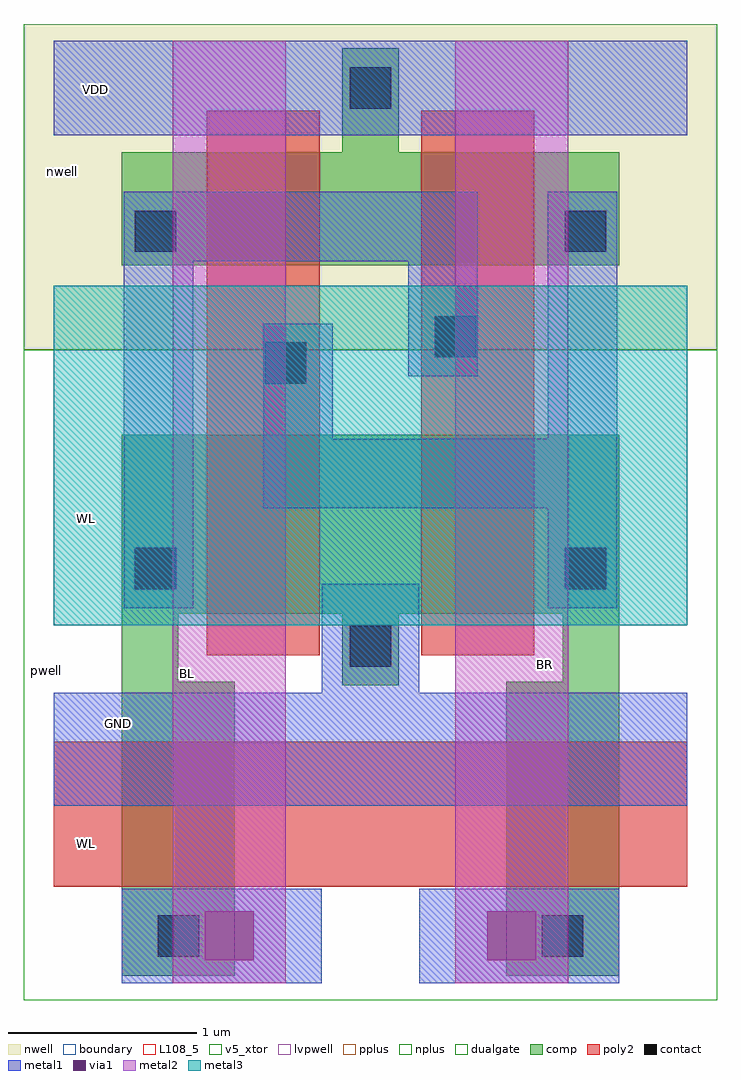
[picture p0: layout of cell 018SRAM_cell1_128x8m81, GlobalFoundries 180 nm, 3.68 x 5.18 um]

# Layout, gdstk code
import gdstk
lib = gdstk.Library(unit=1e-6, precision=1e-09)
def R(c, l, rs):  # rectangles x0, y0, x1, y1
    for r in rs: c.add(gdstk.rectangle(r[:2], r[2:], *l))
def P(c, l, *ps):  # polygons
    for p in ps: c.add(gdstk.Polygon(p, *l))
boundary = (0, 0)
nwell = (21, 0)
comp = (22, 0)
poly2 = (30, 0)
pplus = (31, 0)
nplus = (32, 0)
contact = (33, 0)
metal1 = (34, 0)
via1 = (35, 0)
metal2 = (36, 0)
metal3 = (42, 0)
dualgate = (55, 0)
L108_5 = (108, 5)
v5_xtor = (112, 1)
lvpwell = (204, 0)

c_018sram_cell1_128x8m81 = lib.new_cell('018SRAM_cell1_128x8m81')
R(c_018sram_cell1_128x8m81, boundary, [(-0.34,-0.34,3.34,4.84), (0,0,3,4.5)])
R(c_018sram_cell1_128x8m81, nwell, [(-0.34,3.11,3.34,4.84)])
P(c_018sram_cell1_128x8m81, comp, [(0.18,-0.21),(0.18,2.66),(2.82,2.66),(2.82,-0.21),(2.22,-0.21),(2.22,1.35),(2.52,1.35),(2.52,1.71),(1.65,1.71),(1.65,1.33),(1.35,1.33),(1.35,1.71),(0.48,1.71),(0.48,1.35),(0.78,1.35),(0.78,-0.21)],
  [(0.18,3.56),(0.18,4.16),(1.35,4.16),(1.35,4.71),(1.65,4.71),(1.65,4.16),(2.82,4.16),(2.82,3.56)])
R(c_018sram_cell1_128x8m81, poly2, [(-0.18,0.26,3.18,1.03), (0.63,1.49,1.23,4.38), (1.77,1.49,2.37,4.38)])
R(c_018sram_cell1_128x8m81, pplus, [(-0.34,3.11,3.34,4.84)])
R(c_018sram_cell1_128x8m81, nplus, [(-0.34,-0.34,3.34,3.11)])
R(c_018sram_cell1_128x8m81, contact, [(0.37,-0.11,0.59,0.11), (2.41,-0.11,2.63,0.11), (1.39,1.43,1.61,1.65), (0.25,1.84,0.47,2.06), (2.53,1.84,2.75,2.06), (0.94,2.93,1.16,3.15), (1.84,3.07,2.06,3.29), (0.25,3.63,0.47,3.85), (2.53,3.63,2.75,3.85), (1.39,4.39,1.61,4.61)])
R(c_018sram_cell1_128x8m81, metal1, [(0.18,-0.25,1.24,0.25), (1.76,-0.25,2.82,0.25), (-0.18,4.25,3.18,4.75)])
P(c_018sram_cell1_128x8m81, metal1, [(0.19,1.74),(0.19,3.95),(2.07,3.95),(2.07,2.97),(1.7,2.97),(1.7,3.58),(0.56,3.58),(0.56,1.74)],
  [(2.44,1.74),(2.44,2.27),(0.93,2.27),(0.93,3.25),(1.3,3.25),(1.3,2.64),(2.44,2.64),(2.44,3.95),(2.81,3.95),(2.81,1.74)],
  [(-0.18,0.69),(-0.18,1.29),(1.24,1.29),(1.24,1.87),(1.76,1.87),(1.76,1.29),(3.18,1.29),(3.18,0.69)])
R(c_018sram_cell1_128x8m81, via1, [(0.62,-0.13,0.88,0.13), (2.12,-0.13,2.38,0.13)])
R(c_018sram_cell1_128x8m81, metal2, [(0.45,-0.25,1.05,4.75), (1.95,-0.25,2.55,4.75)])
R(c_018sram_cell1_128x8m81, metal3, [(-0.18,1.65,3.18,3.45)])
R(c_018sram_cell1_128x8m81, dualgate, [(-0.34,-0.34,3.34,4.84)])
R(c_018sram_cell1_128x8m81, L108_5, [(-0.34,-0.34,3.34,4.84)])
R(c_018sram_cell1_128x8m81, v5_xtor, [(-0.34,-0.34,3.34,4.84)])
R(c_018sram_cell1_128x8m81, lvpwell, [(-0.34,-0.34,3.34,3.11)])
c_018sram_cell1_128x8m81.add(gdstk.Label('VDD', (0.041,4.491), layer=34, texttype=0))
c_018sram_cell1_128x8m81.add(gdstk.Label('GND', (0.163,1.13), layer=34, texttype=0))
c_018sram_cell1_128x8m81.add(gdstk.Label('WL', (-0.005,0.492), layer=30, texttype=0))
c_018sram_cell1_128x8m81.add(gdstk.Label('BL', (0.531,1.395), layer=36, texttype=0))
c_018sram_cell1_128x8m81.add(gdstk.Label('BR', (2.426,1.438), layer=36, texttype=0))
c_018sram_cell1_128x8m81.add(gdstk.Label('WL', (-0.009,2.216), layer=42, texttype=0))
c_018sram_cell1_128x8m81.add(gdstk.Label('nwell', (-0.137,4.056), layer=21, texttype=0))
c_018sram_cell1_128x8m81.add(gdstk.Label('pwell', (-0.222,1.408), layer=204, texttype=0))

lib.write_gds('018SRAM_cell1_128x8m81.gds')
